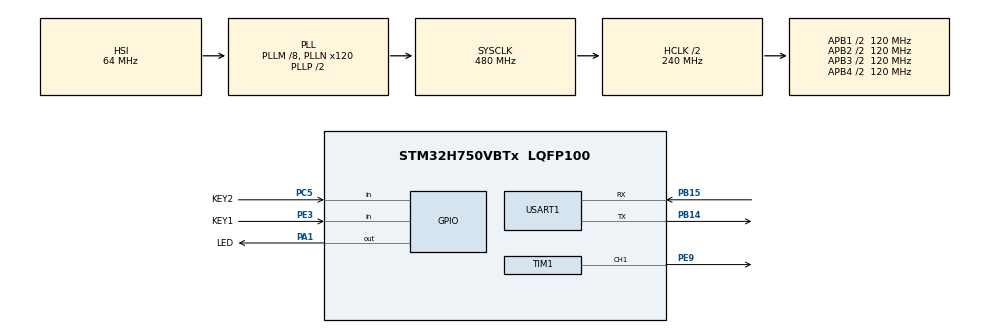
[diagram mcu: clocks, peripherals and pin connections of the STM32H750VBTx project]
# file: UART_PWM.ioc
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Dma.Request0=USART1_RX
Dma.USART1_RX.0.Direction=DMA_PERIPH_TO_MEMORY
Dma.USART1_RX.0.EventEnable=DISABLE
Dma.USART1_RX.0.FIFOMode=DMA_FIFOMODE_DISABLE
Dma.USART1_RX.0.Instance=DMA1_Stream0
Dma.USART1_RX.0.MemDataAlignment=DMA_MDATAALIGN_BYTE
Dma.USART1_RX.0.MemInc=DMA_MINC_ENABLE
Dma.USART1_RX.0.Mode=DMA_NORMAL
Dma.USART1_RX.0.PeriphDataAlignment=DMA_PDATAALIGN_BYTE
Dma.USART1_RX.0.PeriphInc=DMA_PINC_DISABLE
Dma.USART1_RX.0.Polarity=HAL_DMAMUX_REQ_GEN_RISING
Dma.USART1_RX.0.Priority=DMA_PRIORITY_LOW
Dma.USART1_RX.0.RequestNumber=1
Dma.USART1_RX.0.SignalID=NONE
Dma.USART1_RX.0.SyncEnable=DISABLE
Dma.USART1_RX.0.SyncPolarity=HAL_DMAMUX_SYNC_NO_EVENT
Dma.USART1_RX.0.SyncRequestNumber=1
Dma.USART1_RX.0.SyncSignalID=NONE
FREERTOS.Tasks01=defaultTask,0,128,StartDefaultTask,Default,NULL,Dynamic,NULL,NULL
Mcu.Family=STM32H7
Mcu.Name=STM32H750VBTx
Mcu.Package=LQFP100
NVIC.DMA1_Stream0_IRQn=true\:5\:0\:false\:false\:true\:true\:false\:true\:true
NVIC.PriorityGroup=NVIC_PRIORITYGROUP_4
PA1.GPIO_Label=LED
PA1.Signal=GPIO_Output
PA13\ (JTMS/SWDIO).Mode=Serial_Wire
PA13\ (JTMS/SWDIO).Signal=DEBUG_JTMS-SWDIO
PA14\ (JTCK/SWCLK).Mode=Serial_Wire
PA14\ (JTCK/SWCLK).Signal=DEBUG_JTCK-SWCLK
PB14.Mode=Asynchronous
PB14.Signal=USART1_TX
PB15.Mode=Asynchronous
PB15.Signal=USART1_RX
PC5.GPIO_Label=KEY2
PC5.GPIO_PuPd=GPIO_PULLUP
PC5.Signal=GPIO_Input
PE3.GPIO_Label=KEY1
PE3.GPIO_PuPd=GPIO_PULLUP
PE3.Signal=GPIO_Input
PE9.Signal=S_TIM1_CH1
PH0-OSC_IN\ (PH0).Mode=HSE-External-Oscillator
PH0-OSC_IN\ (PH0).Signal=RCC_OSC_IN
PH1-OSC_OUT\ (PH1).Mode=HSE-External-Oscillator
PH1-OSC_OUT\ (PH1).Signal=RCC_OSC_OUT
ProjectManager.HeapSize=0x200
ProjectManager.StackSize=0x400
ProjectManager.TargetToolchain=STM32CubeIDE
RCC.ADCFreq_Value=129000000
RCC.APB1Freq_Value=120000000
RCC.APB2Freq_Value=120000000
RCC.APB3Freq_Value=120000000
RCC.APB4Freq_Value=120000000
RCC.CortexFreq_Value=480000000
RCC.D1PPRE=RCC_APB3_DIV2
RCC.D2PPRE1=RCC_APB1_DIV2
RCC.D2PPRE2=RCC_APB2_DIV2
RCC.D3PPRE=RCC_APB4_DIV2
RCC.DIVM1=8
RCC.DIVN1=120
RCC.HCLKFreq_Value=240000000
RCC.HPRE=RCC_HCLK_DIV2
RCC.ProductRev=revV
RCC.SYSCLKFreq_VALUE=480000000
RCC.SYSCLKSource=RCC_SYSCLKSOURCE_PLLCLK
RCC.USBFreq_Value=480000000
SH.S_TIM1_CH1.0=TIM1_CH1,PWM Generation1 CH1
TIM1.Channel-PWM\ Generation1\ CH1=TIM_CHANNEL_1
TIM1.Period=10000
TIM1.Prescaler=24000
USART1.VirtualMode-Asynchronous=VM_ASYNC
VP_FREERTOS_VS_CMSIS_V1.Mode=CMSIS_V1
board=custom

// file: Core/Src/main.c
/* USER CODE BEGIN Header */
/**
  ******************************************************************************
  * @file           : main.c
  * @brief          : Main program body
  ******************************************************************************
  * @attention
  *
  * Copyright (c) 2023 STMicroelectronics.
  * All rights reserved.
  *
  * This software is licensed under terms that can be found in the LICENSE file
  * in the root directory of this software component.
  * If no LICENSE file comes with this software, it is provided AS-IS.
  *
  ******************************************************************************
  */
/* USER CODE END Header */
#include "main.h"
#include "cmsis_os.h"

TIM_HandleTypeDef htim1;

UART_HandleTypeDef huart1;
DMA_HandleTypeDef hdma_usart1_rx;

osThreadId defaultTaskHandle;
/* USER CODE BEGIN PV */
osThreadId UARTTaskHandle;
osThreadId PWMTaskHandle;
osThreadId KEYTaskHandle;

/* USER CODE END PV */

void SystemClock_Config(void);
static void MX_GPIO_Init(void);
static void MX_DMA_Init(void);
static void MX_USART1_UART_Init(void);
static void MX_TIM1_Init(void);
void StartDefaultTask(void const * argument);

/* USER CODE BEGIN PFP */
void UARTTask(void const * argument);
void PWMTask(void const * argument);
void KEYTask(void const * argument);
/* USER CODE END PFP */

/* USER CODE BEGIN 0 */
osThreadDef(UARTTask, UARTTask, osPriorityAboveNormal, 0, 512);
osThreadDef(PWMTask, PWMTask, osPriorityNormal, 0, 256);
osThreadDef(KEYTask, KEYTask, osPriorityNormal, 0, 256);
/* USER CODE END 0 */

int main(void)
{

  /* MCU Configuration--------------------------------------------------------*/

  /* Reset of all peripherals, Initializes the Flash interface and the Systick. */
  HAL_Init();

  /* Configure the system clock */
  SystemClock_Config();

  /* Initialize all configured peripherals */
  MX_GPIO_Init();
  MX_DMA_Init();
  MX_USART1_UART_Init();
  MX_TIM1_Init();

  /* Create the thread(s) */
  /* definition and creation of defaultTask */
  osThreadDef(defaultTask, StartDefaultTask, osPriorityNormal, 0, 256);
  defaultTaskHandle = osThreadCreate(osThread(defaultTask), NULL);

  /* Start scheduler */
  osKernelStart();
  /* We should never get here as control is now taken by the scheduler */
  /* Infinite loop */
  while (1)
  {

  }
}

void SystemClock_Config(void)
{
  RCC_OscInitTypeDef RCC_OscInitStruct = {0};
  RCC_ClkInitTypeDef RCC_ClkInitStruct = {0};

  /** Supply configuration update enable
  */
  HAL_PWREx_ConfigSupply(PWR_LDO_SUPPLY);

  /** Configure the main internal regulator output voltage
  */
  __HAL_PWR_VOLTAGESCALING_CONFIG(PWR_REGULATOR_VOLTAGE_SCALE1);

  while(!__HAL_PWR_GET_FLAG(PWR_FLAG_VOSRDY)) {}

  __HAL_RCC_SYSCFG_CLK_ENABLE();
  __HAL_PWR_VOLTAGESCALING_CONFIG(PWR_REGULATOR_VOLTAGE_SCALE0);

  while(!__HAL_PWR_GET_FLAG(PWR_FLAG_VOSRDY)) {}

  /** Initializes the RCC Oscillators according to the specified parameters
  * in the RCC_OscInitTypeDef structure.
  */
  RCC_OscInitStruct.OscillatorType = RCC_OSCILLATORTYPE_HSI;
  RCC_OscInitStruct.HSIState = RCC_HSI_DIV1;
  RCC_OscInitStruct.HSICalibrationValue = RCC_HSICALIBRATION_DEFAULT;
  RCC_OscInitStruct.PLL.PLLState = RCC_PLL_ON;
  RCC_OscInitStruct.PLL.PLLSource = RCC_PLLSOURCE_HSI;
  RCC_OscInitStruct.PLL.PLLM = 8;
  RCC_OscInitStruct.PLL.PLLN = 120;
  RCC_OscInitStruct.PLL.PLLP = 2;
  RCC_OscInitStruct.PLL.PLLQ = 2;
  RCC_OscInitStruct.PLL.PLLR = 2;
  RCC_OscInitStruct.PLL.PLLRGE = RCC_PLL1VCIRANGE_3;
  RCC_OscInitStruct.PLL.PLLVCOSEL = RCC_PLL1VCOWIDE;
  RCC_OscInitStruct.PLL.PLLFRACN = 0;
  if (HAL_RCC_OscConfig(&RCC_OscInitStruct) != HAL_OK)
  {
    Error_Handler();
  }

  /** Initializes the CPU, AHB and APB buses clocks
  */
  RCC_ClkInitStruct.ClockType = RCC_CLOCKTYPE_HCLK|RCC_CLOCKTYPE_SYSCLK
                              |RCC_CLOCKTYPE_PCLK1|RCC_CLOCKTYPE_PCLK2
                              |RCC_CLOCKTYPE_D3PCLK1|RCC_CLOCKTYPE_D1PCLK1;
  RCC_ClkInitStruct.SYSCLKSource = RCC_SYSCLKSOURCE_PLLCLK;
  RCC_ClkInitStruct.SYSCLKDivider = RCC_SYSCLK_DIV1;
  RCC_ClkInitStruct.AHBCLKDivider = RCC_HCLK_DIV2;
  RCC_ClkInitStruct.APB3CLKDivider = RCC_APB3_DIV2;
  RCC_ClkInitStruct.APB1CLKDivider = RCC_APB1_DIV2;
  RCC_ClkInitStruct.APB2CLKDivider = RCC_APB2_DIV2;
  RCC_ClkInitStruct.APB4CLKDivider = RCC_APB4_DIV2;

  if (HAL_RCC_ClockConfig(&RCC_ClkInitStruct, FLASH_LATENCY_4) != HAL_OK)
  {
    Error_Handler();
  }
}

static void MX_TIM1_Init(void)
{

  TIM_MasterConfigTypeDef sMasterConfig = {0};
  TIM_OC_InitTypeDef sConfigOC = {0};
  TIM_BreakDeadTimeConfigTypeDef sBreakDeadTimeConfig = {0};

  htim1.Instance = TIM1;
  htim1.Init.Prescaler = 240;
  htim1.Init.CounterMode = TIM_COUNTERMODE_UP;
  htim1.Init.Period = 10000;
  htim1.Init.ClockDivision = TIM_CLOCKDIVISION_DIV1;
  htim1.Init.RepetitionCounter = 0;
  htim1.Init.AutoReloadPreload = TIM_AUTORELOAD_PRELOAD_DISABLE;
  if (HAL_TIM_PWM_Init(&htim1) != HAL_OK)
  {
    Error_Handler();
  }
  sMasterConfig.MasterOutputTrigger = TIM_TRGO_RESET;
  sMasterConfig.MasterOutputTrigger2 = TIM_TRGO2_RESET;
  sMasterConfig.MasterSlaveMode = TIM_MASTERSLAVEMODE_DISABLE;
  if (HAL_TIMEx_MasterConfigSynchronization(&htim1, &sMasterConfig) != HAL_OK)
  {
    Error_Handler();
  }
  sConfigOC.OCMode = TIM_OCMODE_PWM1;
  sConfigOC.Pulse = 0;
  sConfigOC.OCPolarity = TIM_OCPOLARITY_HIGH;
  sConfigOC.OCNPolarity = TIM_OCNPOLARITY_HIGH;
  sConfigOC.OCFastMode = TIM_OCFAST_DISABLE;
  sConfigOC.OCIdleState = TIM_OCIDLESTATE_RESET;
  sConfigOC.OCNIdleState = TIM_OCNIDLESTATE_RESET;
  if (HAL_TIM_PWM_ConfigChannel(&htim1, &sConfigOC, TIM_CHANNEL_1) != HAL_OK)
  {
    Error_Handler();
  }
  sBreakDeadTimeConfig.OffStateRunMode = TIM_OSSR_DISABLE;
  sBreakDeadTimeConfig.OffStateIDLEMode = TIM_OSSI_DISABLE;
  sBreakDeadTimeConfig.LockLevel = TIM_LOCKLEVEL_OFF;
  sBreakDeadTimeConfig.DeadTime = 0;
  sBreakDeadTimeConfig.BreakState = TIM_BREAK_DISABLE;
  sBreakDeadTimeConfig.BreakPolarity = TIM_BREAKPOLARITY_HIGH;
  sBreakDeadTimeConfig.BreakFilter = 0;
  sBreakDeadTimeConfig.Break2State = TIM_BREAK2_DISABLE;
  sBreakDeadTimeConfig.Break2Polarity = TIM_BREAK2POLARITY_HIGH;
  sBreakDeadTimeConfig.Break2Filter = 0;
  sBreakDeadTimeConfig.AutomaticOutput = TIM_AUTOMATICOUTPUT_DISABLE;
  if (HAL_TIMEx_ConfigBreakDeadTime(&htim1, &sBreakDeadTimeConfig) != HAL_OK)
  {
    Error_Handler();
  }
  HAL_TIM_MspPostInit(&htim1);

}

static void MX_USART1_UART_Init(void)
{

  huart1.Instance = USART1;
  huart1.Init.BaudRate = 115200;
  huart1.Init.WordLength = UART_WORDLENGTH_8B;
  huart1.Init.StopBits = UART_STOPBITS_1;
  huart1.Init.Parity = UART_PARITY_NONE;
  huart1.Init.Mode = UART_MODE_TX_RX;
  huart1.Init.HwFlowCtl = UART_HWCONTROL_NONE;
  huart1.Init.OverSampling = UART_OVERSAMPLING_16;
  huart1.Init.OneBitSampling = UART_ONE_BIT_SAMPLE_DISABLE;
  huart1.Init.ClockPrescaler = UART_PRESCALER_DIV1;
  huart1.AdvancedInit.AdvFeatureInit = UART_ADVFEATURE_NO_INIT;
  if (HAL_UART_Init(&huart1) != HAL_OK)
  {
    Error_Handler();
  }
  if (HAL_UARTEx_SetTxFifoThreshold(&huart1, UART_TXFIFO_THRESHOLD_1_8) != HAL_OK)
  {
    Error_Handler();
  }
  if (HAL_UARTEx_SetRxFifoThreshold(&huart1, UART_RXFIFO_THRESHOLD_1_8) != HAL_OK)
  {
    Error_Handler();
  }
  if (HAL_UARTEx_DisableFifoMode(&huart1) != HAL_OK)
  {
    Error_Handler();
  }

}

static void MX_DMA_Init(void)
{

  /* DMA controller clock enable */
  __HAL_RCC_DMA1_CLK_ENABLE();

  /* DMA interrupt init */
  /* DMA1_Stream0_IRQn interrupt configuration */
  HAL_NVIC_SetPriority(DMA1_Stream0_IRQn, 5, 0);
  HAL_NVIC_EnableIRQ(DMA1_Stream0_IRQn);

}

static void MX_GPIO_Init(void)
{
  GPIO_InitTypeDef GPIO_InitStruct = {0};

  /* GPIO Ports Clock Enable */
  __HAL_RCC_GPIOE_CLK_ENABLE();
  __HAL_RCC_GPIOH_CLK_ENABLE();
  __HAL_RCC_GPIOA_CLK_ENABLE();
  __HAL_RCC_GPIOC_CLK_ENABLE();
  __HAL_RCC_GPIOB_CLK_ENABLE();

  /*Configure GPIO pin Output Level */
  HAL_GPIO_WritePin(LED_GPIO_Port, LED_Pin, GPIO_PIN_RESET);

  /*Configure GPIO pin : KEY1_Pin */
  GPIO_InitStruct.Pin = KEY1_Pin;
  GPIO_InitStruct.Mode = GPIO_MODE_INPUT;
  GPIO_InitStruct.Pull = GPIO_PULLUP;
  HAL_GPIO_Init(KEY1_GPIO_Port, &GPIO_InitStruct);

  /*Configure GPIO pin : LED_Pin */
  GPIO_InitStruct.Pin = LED_Pin;
  GPIO_InitStruct.Mode = GPIO_MODE_OUTPUT_PP;
  GPIO_InitStruct.Pull = GPIO_NOPULL;
  GPIO_InitStruct.Speed = GPIO_SPEED_FREQ_LOW;
  HAL_GPIO_Init(LED_GPIO_Port, &GPIO_InitStruct);

  /*Configure GPIO pin : KEY2_Pin */
  GPIO_InitStruct.Pin = KEY2_Pin;
  GPIO_InitStruct.Mode = GPIO_MODE_INPUT;
  GPIO_InitStruct.Pull = GPIO_PULLUP;
  HAL_GPIO_Init(KEY2_GPIO_Port, &GPIO_InitStruct);

}

void StartDefaultTask(void const * argument)
{
  /* USER CODE BEGIN 5 */

  portENTER_CRITICAL();
  UARTTaskHandle = osThreadCreate(osThread(UARTTask),NULL);
  PWMTaskHandle = osThreadCreate(osThread(PWMTask),NULL);
  KEYTaskHandle = osThreadCreate(osThread(KEYTask),NULL);
  portEXIT_CRITICAL();

  uart_printf("OS init!\r\n");
  /* Infinite loop */
  for(;;)
  {
    osDelay(1000);
  }
  /* USER CODE END 5 */
}

void Error_Handler(void)
{
  __disable_irq();
  while (1)
  {
  }
}

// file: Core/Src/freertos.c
/* USER CODE BEGIN Header */
/**
  ******************************************************************************
  * File Name          : freertos.c
  * Description        : Code for freertos applications
  ******************************************************************************
  * @attention
  *
  * Copyright (c) 2023 STMicroelectronics.
  * All rights reserved.
  *
  * This software is licensed under terms that can be found in the LICENSE file
  * in the root directory of this software component.
  * If no LICENSE file comes with this software, it is provided AS-IS.
  *
  ******************************************************************************
  */
/* USER CODE END Header */

#include "FreeRTOS.h"
#include "task.h"
#include "main.h"

/* USER CODE BEGIN PM */
uint8_t uartBuffer[UARTBUFFER];
float PWMValue[2];
/* USER CODE END PM */

/* GetIdleTaskMemory prototype (linked to static allocation support) */
void vApplicationGetIdleTaskMemory( StaticTask_t **ppxIdleTaskTCBBuffer, StackType_t **ppxIdleTaskStackBuffer, uint32_t *pulIdleTaskStackSize );

/* USER CODE BEGIN GET_IDLE_TASK_MEMORY */
static StaticTask_t xIdleTaskTCBBuffer;
static StackType_t xIdleStack[configMINIMAL_STACK_SIZE];

void vApplicationGetIdleTaskMemory(StaticTask_t **ppxIdleTaskTCBBuffer, StackType_t **ppxIdleTaskStackBuffer,
                                   uint32_t *pulIdleTaskStackSize) {
    *ppxIdleTaskTCBBuffer = &xIdleTaskTCBBuffer;
    *ppxIdleTaskStackBuffer = &xIdleStack[0];
    *pulIdleTaskStackSize = configMINIMAL_STACK_SIZE;
    /* place for user code */
}
/* USER CODE END GET_IDLE_TASK_MEMORY */

/* USER CODE BEGIN Application */
osMutexDef(printfMutex);
osMutexId printfMutex;
void UARTTask(void const *argument) {
    int i;
    int array_empty_flag = 1;

    printfMutex = osMutexCreate(osMutex(printfMutex));

    uart_printf("Uart Task Start.\r\n");
    for (;;) {
        HAL_UART_Receive_DMA(&huart1, &uartBuffer[0], UARTBUFFER);
        for (i = 0; i < UARTBUFFER; i++) {
            if (uartBuffer[i] != 0) {
                array_empty_flag = 0;
                break;
            }
        }
        if (array_empty_flag == 0) {
            array_empty_flag = 1;
            /*
             * example:
             * UartInput: x:+003,
             * PWMValue[1] = 3;
             * UartInput: x:+012,
             * PWMValue[1] = 12;
             * */
            ReformatBuffer(uartBuffer, PWMValue);
            uart_printf("PWM Value: %0.2f.\r\n", PWMValue[0]);

            memset(uartBuffer, 0, UARTBUFFER);

            HAL_UART_DMAStop(&huart1);
        }
        osDelay(100);
    }

}

void PWMTask(void const *argument) {
//    uart_printf("PWM Task Start.\r\n");
    HAL_TIM_PWM_Start(&htim1, TIM_CHANNEL_1);
    for (;;) {
                __HAL_TIM_SetCompare(&htim1, TIM_CHANNEL_1, PWMValue[0] * 100);
        osDelay(10);
    }
}

void KEYTask(void const *argument) {
//    uart_printf("KEY Task Start.\r\n");

    button_init(&KEY1, read_KEY1_GPIO, 0);
    button_init(&KEY2, read_KEY2_GPIO, 0);
    button_attach(&KEY1, PRESS_DOWN, KEY1_PRESS_DOWN_Handler);
    button_attach(&KEY2, PRESS_DOWN, KEY2_PRESS_DOWN_Handler);
    button_start(&KEY1);
    button_start(&KEY2);

    for (;;) {
        button_ticks();
        osDelay(5);
    }
}
/* USER CODE END Application */
